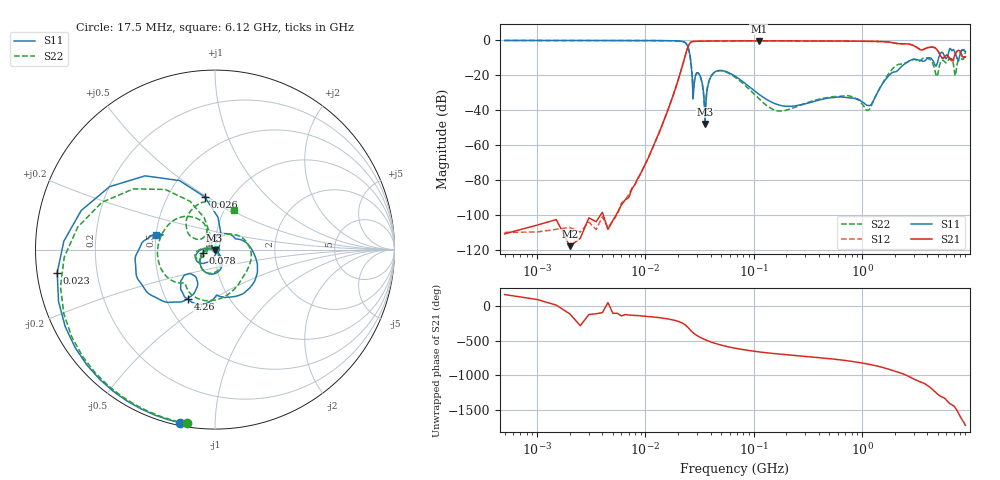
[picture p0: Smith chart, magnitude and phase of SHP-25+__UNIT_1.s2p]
!Created: 12-14-2011 at 11:41:12
!MODEL: SHP-25+
!AP#111410
!Run/Lot/Date Code: MUU9660/NA/1129
!Fixture/SN/Due: NA/NA/NA
!Connection: Port 1-SMA_F OF DUT; Port 2-SMA_M OF DUT
!S/N: Unit 1
!Network Analyzer: AG N3383A, S/N 74302, CAL DUE: 07/07/2012
# MHZ S DB R 50
!Frequency  S11 dB  S11 DEG  S21 dB  S21 DEG  S12 dB  S12 DEG  S22 dB  S22 DEG
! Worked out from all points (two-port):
!   1260 points, 500 kHz to 9 GHz, reference 50 ohm
!   highest |S21| = -0.21 dB at 111 MHz (marker M1); lowest = -117.7 dB at 2 MHz (marker M2)
!   |S21| within 3 dB of the highest: 24.86 MHz to 3.058 GHz (3.033 GHz wide, 197 % of centre)
!   lowest |S11| = -47.7 dB at 35.5 MHz (marker M3), VSWR 1.01, Z = 49.8 - j0.328 ohm
!   |S11| at or under -10 dB: 25.93 MHz to 4.081 GHz (4.055 GHz wide, 197 % of centre); 4.25 GHz to 5.095 GHz (845.7 MHz wide, 18.1 % of centre); 7.516 GHz to 7.899 GHz (383 MHz wide, 4.97 % of centre)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
!   |S22| runs from -41.0 to 0.0 dB; largest |S21 - S12| = 0.05
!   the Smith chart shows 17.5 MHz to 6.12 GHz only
!   S11 on the Smith chart (normalised r, x): 17.5 MHz: 0.01, -0.82; 23 MHz: 0.06, -0.07; 26 MHz: 0.76, +0.49; 78 MHz: 0.87, -0.03; 4.26 GHz: 0.64, -0.40; 6.12 GHz: 0.50, +0.09
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0.5  0.00 -2.4  -110.61 170.1  -109.80 171.7  0.02 -2.4
2  0.00 -9.8  -117.67 -109.6  -106.96 -6.7  0.01 -9.7
3  -0.00 -14.7  -101.46 -119.8  -103.85 -119.5  0.01 -14.5
8  -0.02 -40.3  -82.32 -133.5  -82.41 -134.5  -0.02 -39.7
13.5  -0.07 -72.2  -52.05 -165.4  -52.00 -165.2  -0.08 -71.0
17.5  -0.14 -101.3  -33.58 165.7  -33.57 165.9  -0.16 -99.3
23  -1.03 -171.7  -9.81 96.1  -9.79 96.2  -1.05 -166.4
26  -10.47 101.1  -1.18 12.5  -1.18 12.6  -10.36 117.4
35.5  -47.73 -126.7  -0.30 -124.5  -0.30 -124.5  -41.04 -112.3
68  -20.64 -150.4  -0.25 110.1  -0.25 110.1  -21.24 -157.3
78  -23.23 -164.5  -0.23 93.4  -0.23 93.4  -24.17 -173.2
111  -30.68 170.1  -0.21 58.8  -0.21 58.8  -33.18 153.7
344  -35.21 61.1  -0.25 -15.3  -0.25 -15.3  -34.70 55.0
960  -34.34 -61.3  -0.41 -97.8  -0.40 -97.8  -34.88 -5.4
1760  -20.18 63.9  -0.90 167.5  -0.87 167.5  -19.00 50.0
2440  -13.73 -0.2  -1.93 94.0  -1.78 93.8  -13.20 -44.7
3020  -10.76 -52.7  -3.03 24.1  -3.04 23.8  -10.76 -106.4
4260  -10.03 -118.5  -3.82 -96.5  -3.78 -97.4  -10.93 146.1
4820  -14.67 -127.0  -4.71 -172.1  -4.60 -172.5  -19.58 116.0
6120  -9.41 165.7  -8.49 65.1  -8.57 62.8  -12.33 64.2
7660  -11.43 20.7  -5.80 -92.8  -6.15 -92.1  -12.14 -14.6
9000  -6.35 -57.0  -9.33 71.1  -9.17 78.3  -6.63 -80.9
